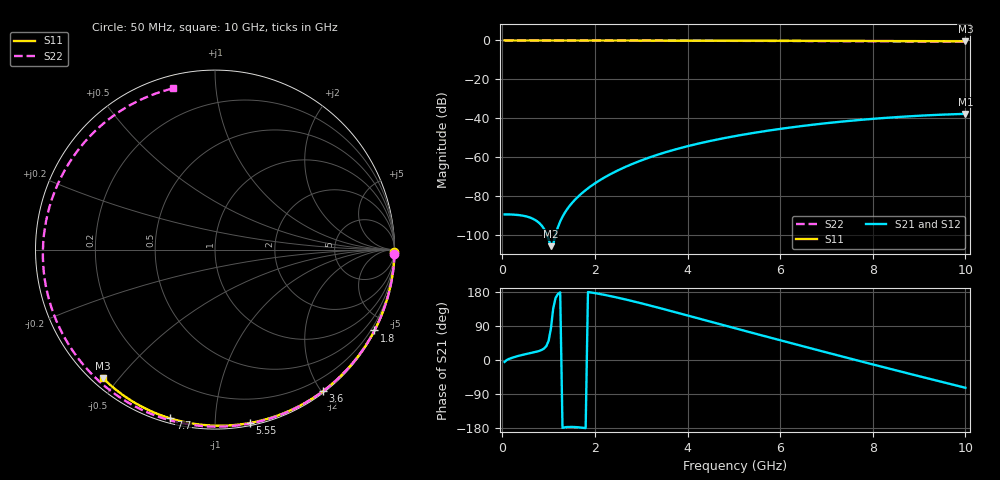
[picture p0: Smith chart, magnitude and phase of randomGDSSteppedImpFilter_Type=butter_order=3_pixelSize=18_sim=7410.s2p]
! freq	dB(S11)	phase(S11)	dB(S12)	phase(S12)
!  dB(S21)	phase(S21)	dB(S22)	phase(S22)
!S-par simulation data
#  GHz  S  DB  R 50
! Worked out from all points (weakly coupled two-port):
!   200 points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, 50 MHz to 10 GHz, reference 50 ohm
!   highest |S21| = -37.68 dB at 10 GHz (marker M1); lowest = -105.6 dB at 1.05 GHz (marker M2)
!   lowest |S11| = -0.4 dB at 10 GHz (marker M3), VSWR 38.93, Z = 1.55 - j22.7 ohm
!   |S11| at or under -10 dB: nowhere
!   |S22| runs from -0.6 to 0.0 dB; largest |S21 - S12| = 0
!   S11 on the Smith chart (normalised r, x): 50 MHz: open; 1.8 GHz: 0.04, -4.18; 3.6 GHz: 0.02, -2.02; 5.55 GHz: 0.02, -1.22; 7.7 GHz: 0.02, -0.77; 10 GHz: 0.03, -0.45
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0.05  -0.00 -0.8  -89.29 -5.0  -89.29 -5.0  -0.00 -1.4
0.55  -0.01 -8.3  -90.51 16.7  -90.51 16.7  -0.01 -15.1
1.05  -0.02 -15.8  -105.57 83.3  -105.57 83.3  -0.03 -28.6
1.65  -0.03 -24.7  -79.86 -177.7  -79.86 -177.7  -0.06 -44.5
1.75  -0.03 -26.2  -77.76 -179.0  -77.76 -179.0  -0.06 -47.1
1.8  -0.03 -26.9  -76.79 -179.7  -76.79 -179.7  -0.06 -48.4
2.1  -0.04 -31.3  -71.82 174.4  -71.82 174.4  -0.07 -56.2
2.5  -0.05 -37.0  -66.64 164.3  -66.64 164.3  -0.08 -66.3
2.9  -0.06 -42.8  -62.49 152.7  -62.49 152.7  -0.10 -76.3
3.4  -0.07 -49.8  -58.29 137.1  -58.29 137.1  -0.12 -88.4
3.6  -0.07 -52.6  -56.84 130.6  -56.84 130.6  -0.12 -93.2
4.3  -0.09 -62.1  -52.57 107.6  -52.57 107.6  -0.15 -109.5
5.05  -0.11 -72.1  -48.98 83.0  -48.98 83.0  -0.19 -126.6
5.55  -0.13 -78.5  -46.98 66.7  -46.98 66.7  -0.22 -137.9
6.15  -0.15 -86.1  -44.90 47.3  -44.90 47.3  -0.26 -151.5
6.7  -0.18 -92.9  -43.25 29.6  -43.25 29.6  -0.31 -164.2
7.2  -0.21 -98.9  -41.95 13.6  -41.95 13.6  -0.35 -176.0
7.7  -0.24 -104.9  -40.83 -2.2  -40.83 -2.2  -0.40 171.7
8.35  -0.29 -112.4  -39.60 -22.6  -39.60 -22.6  -0.47 154.7
9.15  -0.36 -121.6  -38.45 -47.4  -38.45 -47.4  -0.56 131.9
9.6  -0.40 -126.7  -37.98 -61.2  -37.98 -61.2  -0.61 118.0
10  -0.45 -131.2  -37.68 -73.3  -37.68 -73.3  -0.65 104.7
